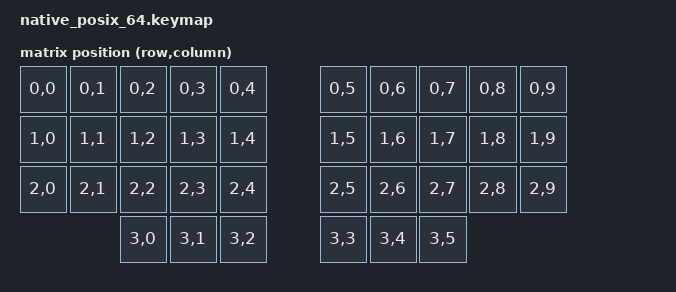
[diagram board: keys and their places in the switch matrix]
#include <dt-bindings/zmk/matrix_transform.h>
#include <dt-bindings/zmk/kscan_mock.h>

/ {
    chosen {
        zmk,matrix-transform = &transform;
    };

    /* op36 position N is RC(N/10, N%10); thumbs 30..35 are row 3. */
    transform: keymap_transform {
        compatible = "zmk,matrix-transform";
        columns = <10>;
        rows = <4>;
        map = <
            RC(0,0) RC(0,1) RC(0,2) RC(0,3) RC(0,4) RC(0,5) RC(0,6) RC(0,7) RC(0,8) RC(0,9)
            RC(1,0) RC(1,1) RC(1,2) RC(1,3) RC(1,4) RC(1,5) RC(1,6) RC(1,7) RC(1,8) RC(1,9)
            RC(2,0) RC(2,1) RC(2,2) RC(2,3) RC(2,4) RC(2,5) RC(2,6) RC(2,7) RC(2,8) RC(2,9)
            RC(3,0) RC(3,1) RC(3,2) RC(3,3) RC(3,4) RC(3,5)
        >;
    };
};

&kscan {
    rows = <4>;
    columns = <10>;
    events = <
        /* lead-in so require-prior-idle-ms sees real idle time */
        ZMK_MOCK_PRESS(0,1,10)
        ZMK_MOCK_RELEASE(0,1,400)

        /* Right Cmd (N, pos 16) with Enter (pos 33) — both on the RIGHT half,
           so this is a same-hand chord and the positional lists deliberately
           refuse it: the snapshot shows `j` + Enter, not Cmd + Enter. Kept as
           documentation of that rule. Enter must be chorded with the LEFT Cmd,
           see cmd-enter-crosshand. */
        ZMK_MOCK_PRESS(1,6,20)
        ZMK_MOCK_PRESS(3,3,30)
        ZMK_MOCK_RELEASE(3,3,20)
        ZMK_MOCK_RELEASE(1,6,400)

        ZMK_MOCK_PRESS(1,6,20)
        ZMK_MOCK_PRESS(3,3,30)
        ZMK_MOCK_RELEASE(3,3,20)
        ZMK_MOCK_RELEASE(1,6,100)
    >;
};

#include "/cfg/op36_ruen.keymap"
